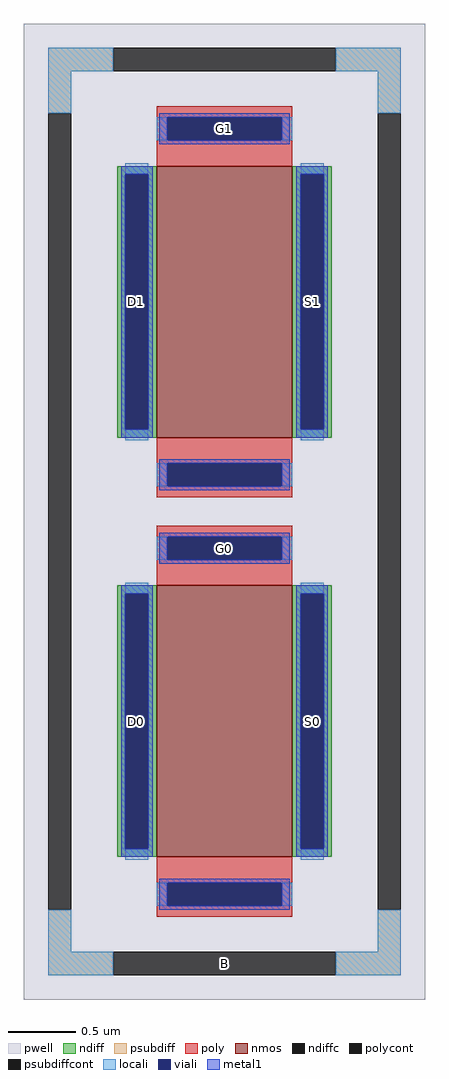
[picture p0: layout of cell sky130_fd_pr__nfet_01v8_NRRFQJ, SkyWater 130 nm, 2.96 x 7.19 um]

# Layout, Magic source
magic
tech sky130A
magscale 1 2
<< pwell >>
rect -296 -719 296 719
<< nmos >>
rect -100 109 100 509
rect -100 -509 100 -109
<< ndiff >>
rect -158 497 -100 509
rect -158 121 -146 497
rect -112 121 -100 497
rect -158 109 -100 121
rect 100 497 158 509
rect 100 121 112 497
rect 146 121 158 497
rect 100 109 158 121
rect -158 -121 -100 -109
rect -158 -497 -146 -121
rect -112 -497 -100 -121
rect -158 -509 -100 -497
rect 100 -121 158 -109
rect 100 -497 112 -121
rect 146 -497 158 -121
rect 100 -509 158 -497
<< ndiffc >>
rect -146 121 -112 497
rect 112 121 146 497
rect -146 -497 -112 -121
rect 112 -497 146 -121
<< psubdiff >>
rect -260 649 -164 683
rect 164 649 260 683
rect -260 587 -226 649
rect 226 587 260 649
rect -260 -649 -226 -587
rect 226 -649 260 -587
rect -260 -683 -164 -649
rect 164 -683 260 -649
<< psubdiffcont >>
rect -164 649 164 683
rect -260 -587 -226 587
rect 226 -587 260 587
rect -164 -683 164 -649
<< poly >>
rect -100 581 100 597
rect -100 547 -84 581
rect 84 547 100 581
rect -100 509 100 547
rect -100 71 100 109
rect -100 37 -84 71
rect 84 37 100 71
rect -100 21 100 37
rect -100 -37 100 -21
rect -100 -71 -84 -37
rect 84 -71 100 -37
rect -100 -109 100 -71
rect -100 -547 100 -509
rect -100 -581 -84 -547
rect 84 -581 100 -547
rect -100 -597 100 -581
<< polycont >>
rect -84 547 84 581
rect -84 37 84 71
rect -84 -71 84 -37
rect -84 -581 84 -547
<< locali >>
rect -260 649 -164 683
rect 164 649 260 683
rect -260 587 -226 649
rect 226 587 260 649
rect -100 547 -84 581
rect 84 547 100 581
rect -146 497 -112 513
rect -146 105 -112 121
rect 112 497 146 513
rect 112 105 146 121
rect -100 37 -84 71
rect 84 37 100 71
rect -100 -71 -84 -37
rect 84 -71 100 -37
rect -146 -121 -112 -105
rect -146 -513 -112 -497
rect 112 -121 146 -105
rect 112 -513 146 -497
rect -100 -581 -84 -547
rect 84 -581 100 -547
rect -260 -649 -226 -587
rect 226 -649 260 -587
rect -260 -683 -164 -649
rect 164 -683 260 -649
<< viali >>
rect -84 547 84 581
rect -146 121 -112 497
rect 112 121 146 497
rect -84 37 84 71
rect -84 -71 84 -37
rect -146 -497 -112 -121
rect 112 -497 146 -121
rect -84 -581 84 -547
<< metal1 >>
rect -96 581 96 587
rect -96 547 -84 581
rect 84 547 96 581
rect -96 541 96 547
rect -152 497 -106 509
rect -152 121 -146 497
rect -112 121 -106 497
rect -152 109 -106 121
rect 106 497 152 509
rect 106 121 112 497
rect 146 121 152 497
rect 106 109 152 121
rect -96 71 96 77
rect -96 37 -84 71
rect 84 37 96 71
rect -96 31 96 37
rect -96 -37 96 -31
rect -96 -71 -84 -37
rect 84 -71 96 -37
rect -96 -77 96 -71
rect -152 -121 -106 -109
rect -152 -497 -146 -121
rect -112 -497 -106 -121
rect -152 -509 -106 -497
rect 106 -121 152 -109
rect 106 -497 112 -121
rect 146 -497 152 -121
rect 106 -509 152 -497
rect -96 -547 96 -541
rect -96 -581 -84 -547
rect 84 -581 96 -547
rect -96 -587 96 -581
<< labels >>
rlabel psubdiffcont 0 -666 0 -666 0 B
port 8 nsew
rlabel ndiffc -129 -309 -129 -309 0 D0
port 9 nsew
rlabel ndiffc 129 -309 129 -309 0 S0
port 10 nsew
rlabel polycont 0 -54 0 -54 0 G0
port 11 nsew
rlabel ndiffc -129 309 -129 309 0 D1
port 12 nsew
rlabel ndiffc 129 309 129 309 0 S1
port 13 nsew
rlabel polycont 0 564 0 564 0 G1
port 14 nsew
<< properties >>
string FIXED_BBOX -243 -666 243 666
string gencell sky130_fd_pr__nfet_01v8
string library sky130
string parameters w 2.0 l 1.0 m 2 nf 1 diffcov 100 polycov 100 guard 1 glc 1 grc 1 gtc 1 gbc 1 tbcov 100 rlcov 100 topc 1 botc 1 poverlap 0 doverlap 1 lmin 0.15 wmin 0.42 class mosfet compatible {sky130_fd_pr__nfet_01v8 sky130_fd_pr__nfet_01v8_lvt  sky130_fd_bs_flash__special_sonosfet_star  sky130_fd_pr__nfet_g5v0d10v5 sky130_fd_pr__nfet_05v0_nvt  sky130_fd_pr__nfet_03v3_nvt} full_metal 1 conn_gates 0 viasrc 100 viadrn 100 viagate 100 viagb 0 viagr 0 viagl 0 viagt 0 doports 1 ad {int((nf+1)/2) * W/nf * 0.29} as {int((nf+2)/2) * W/nf * 0.29} pd {2*int((nf+1)/2) * (W/nf + 0.29)} ps {2*int((nf+2)/2) * (W/nf + 0.29)} nrd {0.29 / W} nrs {0.29 / W} sa 0 sb 0 sd 0 mult 2
<< end >>
